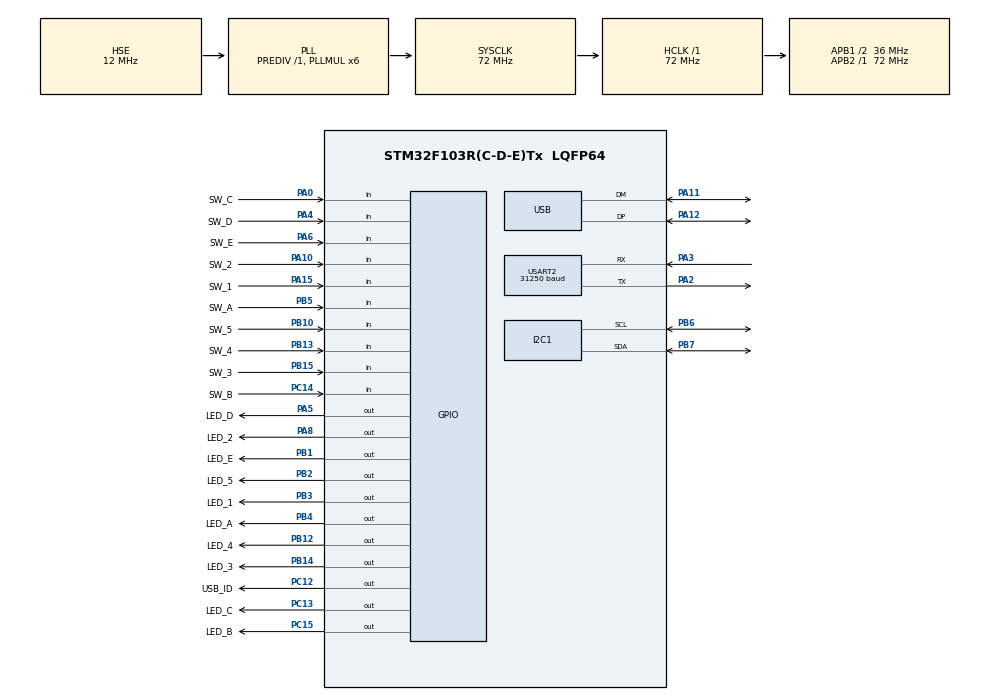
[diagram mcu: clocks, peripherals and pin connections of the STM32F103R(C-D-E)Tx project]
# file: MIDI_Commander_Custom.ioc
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Dma.I2C1_TX.1.Direction=DMA_MEMORY_TO_PERIPH
Dma.I2C1_TX.1.Instance=DMA1_Channel6
Dma.I2C1_TX.1.MemDataAlignment=DMA_MDATAALIGN_BYTE
Dma.I2C1_TX.1.MemInc=DMA_MINC_ENABLE
Dma.I2C1_TX.1.Mode=DMA_NORMAL
Dma.I2C1_TX.1.PeriphDataAlignment=DMA_PDATAALIGN_BYTE
Dma.I2C1_TX.1.PeriphInc=DMA_PINC_DISABLE
Dma.I2C1_TX.1.Priority=DMA_PRIORITY_LOW
Dma.Request0=USART2_TX
Dma.Request1=I2C1_TX
Dma.USART2_TX.0.Direction=DMA_MEMORY_TO_PERIPH
Dma.USART2_TX.0.Instance=DMA1_Channel7
Dma.USART2_TX.0.MemDataAlignment=DMA_MDATAALIGN_BYTE
Dma.USART2_TX.0.MemInc=DMA_MINC_ENABLE
Dma.USART2_TX.0.Mode=DMA_NORMAL
Dma.USART2_TX.0.PeriphDataAlignment=DMA_PDATAALIGN_BYTE
Dma.USART2_TX.0.PeriphInc=DMA_PINC_DISABLE
Dma.USART2_TX.0.Priority=DMA_PRIORITY_LOW
I2C1.I2C_Mode=I2C_Fast
Mcu.Family=STM32F1
Mcu.Name=STM32F103R(C-D-E)Tx
Mcu.Package=LQFP64
NVIC.DMA1_Channel6_IRQn=true\:1\:0\:true\:false\:true\:false\:true
NVIC.DMA1_Channel7_IRQn=true\:0\:0\:false\:false\:true\:false\:true
NVIC.I2C1_EV_IRQn=true\:0\:0\:false\:false\:true\:true\:true
NVIC.PriorityGroup=NVIC_PRIORITYGROUP_4
NVIC.USART2_IRQn=true\:0\:0\:false\:false\:true\:true\:true
NVIC.USB_HP_CAN1_TX_IRQn=true\:6\:0\:true\:false\:true\:true\:true
NVIC.USB_LP_CAN1_RX0_IRQn=true\:5\:0\:true\:false\:true\:false\:true
PA0-WKUP.GPIO_Label=SW_C
PA0-WKUP.GPIO_PuPd=GPIO_PULLUP
PA0-WKUP.Signal=GPIO_Input
PA10.GPIO_Label=SW_2
PA10.GPIO_PuPd=GPIO_PULLUP
PA10.Signal=GPIO_Input
PA11.Mode=Device
PA11.Signal=USB_DM
PA12.Mode=Device
PA12.Signal=USB_DP
PA13.Mode=Serial_Wire
PA13.Signal=SYS_JTMS-SWDIO
PA14.Mode=Serial_Wire
PA14.Signal=SYS_JTCK-SWCLK
PA15.GPIO_Label=SW_1
PA15.GPIO_PuPd=GPIO_PULLUP
PA15.Signal=GPIO_Input
PA2.Mode=Asynchronous
PA2.Signal=USART2_TX
PA3.Mode=Asynchronous
PA3.Signal=USART2_RX
PA4.GPIO_Label=SW_D
PA4.GPIO_PuPd=GPIO_PULLUP
PA4.Signal=GPIO_Input
PA5.GPIO_Label=LED_D
PA5.Signal=GPIO_Output
PA6.GPIO_Label=SW_E
PA6.GPIO_PuPd=GPIO_PULLUP
PA6.Signal=GPIO_Input
PA8.GPIO_Label=LED_2
PA8.Signal=GPIO_Output
PB1.GPIO_Label=LED_E
PB1.Signal=GPIO_Output
PB10.GPIO_Label=SW_5
PB10.GPIO_PuPd=GPIO_PULLUP
PB10.Signal=GPIO_Input
PB12.GPIO_Label=LED_4
PB12.Signal=GPIO_Output
PB13.GPIO_Label=SW_4
PB13.GPIO_PuPd=GPIO_PULLUP
PB13.Signal=GPIO_Input
PB14.GPIO_Label=LED_3
PB14.Signal=GPIO_Output
PB15.GPIO_Label=SW_3
PB15.GPIO_PuPd=GPIO_PULLUP
PB15.Signal=GPIO_Input
PB2.GPIO_Label=LED_5
PB2.Signal=GPIO_Output
PB3.GPIO_Label=LED_1
PB3.Signal=GPIO_Output
PB4.GPIO_Label=LED_A
PB4.Signal=GPIO_Output
PB5.GPIO_Label=SW_A
PB5.GPIO_PuPd=GPIO_PULLUP
PB5.Signal=GPIO_Input
PB6.GPIO_Pu=GPIO_PULLUP
PB6.Mode=I2C
PB6.Signal=I2C1_SCL
PB7.GPIO_Pu=GPIO_PULLUP
PB7.Mode=I2C
PB7.Signal=I2C1_SDA
PC12.GPIO_Label=USB_ID
PC12.Signal=GPIO_Output
PC13-TAMPER-RTC.GPIO_Label=LED_C
PC13-TAMPER-RTC.Signal=GPIO_Output
PC14-OSC32_IN.GPIO_Label=SW_B
PC14-OSC32_IN.GPIO_PuPd=GPIO_PULLUP
PC14-OSC32_IN.Signal=GPIO_Input
PC15-OSC32_OUT.GPIO_Label=LED_B
PC15-OSC32_OUT.Signal=GPIO_Output
PD0-OSC_IN.Mode=HSE-External-Oscillator
PD0-OSC_IN.Signal=RCC_OSC_IN
PD1-OSC_OUT.Mode=HSE-External-Oscillator
PD1-OSC_OUT.Signal=RCC_OSC_OUT
ProjectManager.HeapSize=0x800
ProjectManager.StackSize=0x400
ProjectManager.TargetToolchain=STM32CubeIDE
RCC.AHBFreq_Value=72000000
RCC.APB1CLKDivider=RCC_HCLK_DIV2
RCC.APB1Freq_Value=36000000
RCC.APB1TimFreq_Value=72000000
RCC.APB2Freq_Value=72000000
RCC.APB2TimFreq_Value=72000000
RCC.HCLKFreq_Value=72000000
RCC.HSE_VALUE=12000000
RCC.PLLMUL=RCC_PLL_MUL6
RCC.PLLSourceVirtual=RCC_PLLSOURCE_HSE
RCC.SYSCLKFreq_VALUE=72000000
RCC.SYSCLKSource=RCC_SYSCLKSOURCE_PLLCLK
RCC.USBFreq_Value=48000000
RCC.USBPrescaler=RCC_USBCLKSOURCE_PLL_DIV1_5
USART2.BaudRate=31250
USART2.VirtualMode=VM_ASYNC
USB_DEVICE.CLASS_NAME_FS=AUDIO
USB_DEVICE.VirtualMode=Audio
USB_DEVICE.VirtualModeFS=Audio_FS
VP_USB_DEVICE_VS_USB_DEVICE_AUDIO_FS.Mode=AUDIO_FS
board=custom

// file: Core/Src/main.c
/* USER CODE BEGIN Header */
/**
  ******************************************************************************
  * @file           : main.c
  * @brief          : Main program body
  ******************************************************************************
  * @attention
  *
  * <h2><center>&copy; Copyright (c) 2021 STMicroelectronics.
  * All rights reserved.</center></h2>
  *
  * This software component is licensed by ST under BSD 3-Clause license,
  * the "License"; You may not use this file except in compliance with the
  * License. You may obtain a copy of the License at:
  *                        opensource.org/licenses/BSD-3-Clause
  *
  ******************************************************************************
  */
/* USER CODE END Header */
#include "main.h"
#include "usb_device.h"

/* USER CODE BEGIN Includes */
#include "ssd1306.h"
#include "ssd1306_tests.h"
#include <stdbool.h>
#include "usbd_midi_if.h"
#include "midi_defines.h"
#include "midi_cmds.h"
#include "switch_router.h"
#include "display.h"

/* USER CODE END Includes */

I2C_HandleTypeDef hi2c1;
DMA_HandleTypeDef hdma_i2c1_tx;

UART_HandleTypeDef huart2;
DMA_HandleTypeDef hdma_usart2_tx;

/* USER CODE BEGIN PV */
uint8_t f_sys_config_complete = 0;

/* USER CODE END PV */

void SystemClock_Config(void);
static void MX_GPIO_Init(void);
static void MX_DMA_Init(void);
static void MX_USART2_UART_Init(void);
static void MX_I2C1_Init(void);

int main(void)
{

  /* MCU Configuration--------------------------------------------------------*/

  /* Reset of all peripherals, Initializes the Flash interface and the Systick. */
   HAL_Init();

  /* Configure the system clock */
  SystemClock_Config();

  /* Initialize all configured peripherals */
  MX_GPIO_Init();
  MX_DMA_Init();
  MX_USART2_UART_Init();
  MX_I2C1_Init();
  MX_USB_DEVICE_Init();
  /* USER CODE BEGIN 2 */

  // Reset the USB interface in case it's still plugged in.
  HAL_GPIO_WritePin(USB_ID_GPIO_Port, USB_ID_Pin, GPIO_PIN_RESET);

  display_init();

  // Check we've got a 256kB device, in case Melo switch to a smaller device at some point
  uint16_t flash_size = (*(uint16_t*)FLASHSIZE_BASE);
  uint16_t min_size = 256;
  if(flash_size < min_size) {
	  char msg[25];
	  sprintf(msg, "Mem %3dkb < %3dkb", flash_size, min_size);
	  Error(msg);
  }

  display_setConfigName();

  sw_led_init();

  HAL_Delay(1000);
  HAL_GPIO_WritePin(USB_ID_GPIO_Port, USB_ID_Pin, GPIO_PIN_SET);

  HAL_Delay(200);
  f_sys_config_complete = 1; // Don't scan switch changes until everything is init'd
  display_setBankName(0);

  /* USER CODE END 2 */

  /* Infinite loop */
  /* USER CODE BEGIN WHILE */
  while (1)
  {
	  handle_switches();

    /* USER CODE END WHILE */

  }
}

void SystemClock_Config(void)
{
  RCC_OscInitTypeDef RCC_OscInitStruct = {0};
  RCC_ClkInitTypeDef RCC_ClkInitStruct = {0};
  RCC_PeriphCLKInitTypeDef PeriphClkInit = {0};

  /** Initializes the RCC Oscillators according to the specified parameters
  * in the RCC_OscInitTypeDef structure.
  */
  RCC_OscInitStruct.OscillatorType = RCC_OSCILLATORTYPE_HSE;
  RCC_OscInitStruct.HSEState = RCC_HSE_ON;
  RCC_OscInitStruct.HSEPredivValue = RCC_HSE_PREDIV_DIV1;
  RCC_OscInitStruct.HSIState = RCC_HSI_ON;
  RCC_OscInitStruct.PLL.PLLState = RCC_PLL_ON;
  RCC_OscInitStruct.PLL.PLLSource = RCC_PLLSOURCE_HSE;
  RCC_OscInitStruct.PLL.PLLMUL = RCC_PLL_MUL6;
  if (HAL_RCC_OscConfig(&RCC_OscInitStruct) != HAL_OK)
  {
    Error_Handler();
  }
  /** Initializes the CPU, AHB and APB buses clocks
  */
  RCC_ClkInitStruct.ClockType = RCC_CLOCKTYPE_HCLK|RCC_CLOCKTYPE_SYSCLK
                              |RCC_CLOCKTYPE_PCLK1|RCC_CLOCKTYPE_PCLK2;
  RCC_ClkInitStruct.SYSCLKSource = RCC_SYSCLKSOURCE_PLLCLK;
  RCC_ClkInitStruct.AHBCLKDivider = RCC_SYSCLK_DIV1;
  RCC_ClkInitStruct.APB1CLKDivider = RCC_HCLK_DIV2;
  RCC_ClkInitStruct.APB2CLKDivider = RCC_HCLK_DIV1;

  if (HAL_RCC_ClockConfig(&RCC_ClkInitStruct, FLASH_LATENCY_2) != HAL_OK)
  {
    Error_Handler();
  }
  PeriphClkInit.PeriphClockSelection = RCC_PERIPHCLK_USB;
  PeriphClkInit.UsbClockSelection = RCC_USBCLKSOURCE_PLL_DIV1_5;
  if (HAL_RCCEx_PeriphCLKConfig(&PeriphClkInit) != HAL_OK)
  {
    Error_Handler();
  }
}

static void MX_I2C1_Init(void)
{

  hi2c1.Instance = I2C1;
  hi2c1.Init.ClockSpeed = 400000;
  hi2c1.Init.DutyCycle = I2C_DUTYCYCLE_2;
  hi2c1.Init.OwnAddress1 = 0;
  hi2c1.Init.AddressingMode = I2C_ADDRESSINGMODE_7BIT;
  hi2c1.Init.DualAddressMode = I2C_DUALADDRESS_DISABLE;
  hi2c1.Init.OwnAddress2 = 0;
  hi2c1.Init.GeneralCallMode = I2C_GENERALCALL_DISABLE;
  hi2c1.Init.NoStretchMode = I2C_NOSTRETCH_DISABLE;
  if (HAL_I2C_Init(&hi2c1) != HAL_OK)
  {
    Error_Handler();
  }

}

static void MX_USART2_UART_Init(void)
{

  huart2.Instance = USART2;
  huart2.Init.BaudRate = 31250;
  huart2.Init.WordLength = UART_WORDLENGTH_8B;
  huart2.Init.StopBits = UART_STOPBITS_1;
  huart2.Init.Parity = UART_PARITY_NONE;
  huart2.Init.Mode = UART_MODE_TX_RX;
  huart2.Init.HwFlowCtl = UART_HWCONTROL_NONE;
  huart2.Init.OverSampling = UART_OVERSAMPLING_16;
  if (HAL_UART_Init(&huart2) != HAL_OK)
  {
    Error_Handler();
  }

}

static void MX_DMA_Init(void)
{

  /* DMA controller clock enable */
  __HAL_RCC_DMA1_CLK_ENABLE();

  /* DMA interrupt init */
  /* DMA1_Channel6_IRQn interrupt configuration */
  HAL_NVIC_SetPriority(DMA1_Channel6_IRQn, 1, 0);
  HAL_NVIC_EnableIRQ(DMA1_Channel6_IRQn);
  /* DMA1_Channel7_IRQn interrupt configuration */
  HAL_NVIC_SetPriority(DMA1_Channel7_IRQn, 0, 0);
  HAL_NVIC_EnableIRQ(DMA1_Channel7_IRQn);

}

static void MX_GPIO_Init(void)
{
  GPIO_InitTypeDef GPIO_InitStruct = {0};

  /* GPIO Ports Clock Enable */
  __HAL_RCC_GPIOC_CLK_ENABLE();
  __HAL_RCC_GPIOD_CLK_ENABLE();
  __HAL_RCC_GPIOA_CLK_ENABLE();
  __HAL_RCC_GPIOB_CLK_ENABLE();

  /*Configure GPIO pin Output Level */
  HAL_GPIO_WritePin(GPIOC, LED_C_Pin|LED_B_Pin|USB_ID_Pin, GPIO_PIN_RESET);

  /*Configure GPIO pin Output Level */
  HAL_GPIO_WritePin(GPIOA, LED_D_Pin|LED_2_Pin, GPIO_PIN_RESET);

  /*Configure GPIO pin Output Level */
  HAL_GPIO_WritePin(GPIOB, LED_E_Pin|LED_5_Pin|LED_4_Pin|LED_3_Pin
                          |LED_1_Pin|LED_A_Pin, GPIO_PIN_RESET);

  /*Configure GPIO pins : LED_C_Pin LED_B_Pin USB_ID_Pin */
  GPIO_InitStruct.Pin = LED_C_Pin|LED_B_Pin|USB_ID_Pin;
  GPIO_InitStruct.Mode = GPIO_MODE_OUTPUT_PP;
  GPIO_InitStruct.Pull = GPIO_NOPULL;
  GPIO_InitStruct.Speed = GPIO_SPEED_FREQ_LOW;
  HAL_GPIO_Init(GPIOC, &GPIO_InitStruct);

  /*Configure GPIO pin : SW_B_Pin */
  GPIO_InitStruct.Pin = SW_B_Pin;
  GPIO_InitStruct.Mode = GPIO_MODE_INPUT;
  GPIO_InitStruct.Pull = GPIO_PULLUP;
  HAL_GPIO_Init(SW_B_GPIO_Port, &GPIO_InitStruct);

  /*Configure GPIO pins : SW_C_Pin SW_D_Pin SW_E_Pin SW_2_Pin
                           SW_1_Pin */
  GPIO_InitStruct.Pin = SW_C_Pin|SW_D_Pin|SW_E_Pin|SW_2_Pin
                          |SW_1_Pin;
  GPIO_InitStruct.Mode = GPIO_MODE_INPUT;
  GPIO_InitStruct.Pull = GPIO_PULLUP;
  HAL_GPIO_Init(GPIOA, &GPIO_InitStruct);

  /*Configure GPIO pins : LED_D_Pin LED_2_Pin */
  GPIO_InitStruct.Pin = LED_D_Pin|LED_2_Pin;
  GPIO_InitStruct.Mode = GPIO_MODE_OUTPUT_PP;
  GPIO_InitStruct.Pull = GPIO_NOPULL;
  GPIO_InitStruct.Speed = GPIO_SPEED_FREQ_LOW;
  HAL_GPIO_Init(GPIOA, &GPIO_InitStruct);

  /*Configure GPIO pins : LED_E_Pin LED_5_Pin LED_4_Pin LED_3_Pin
                           LED_1_Pin LED_A_Pin */
  GPIO_InitStruct.Pin = LED_E_Pin|LED_5_Pin|LED_4_Pin|LED_3_Pin
                          |LED_1_Pin|LED_A_Pin;
  GPIO_InitStruct.Mode = GPIO_MODE_OUTPUT_PP;
  GPIO_InitStruct.Pull = GPIO_NOPULL;
  GPIO_InitStruct.Speed = GPIO_SPEED_FREQ_LOW;
  HAL_GPIO_Init(GPIOB, &GPIO_InitStruct);

  /*Configure GPIO pins : SW_5_Pin SW_4_Pin SW_3_Pin SW_A_Pin */
  GPIO_InitStruct.Pin = SW_5_Pin|SW_4_Pin|SW_3_Pin|SW_A_Pin;
  GPIO_InitStruct.Mode = GPIO_MODE_INPUT;
  GPIO_InitStruct.Pull = GPIO_PULLUP;
  HAL_GPIO_Init(GPIOB, &GPIO_InitStruct);

}

/* USER CODE BEGIN 4 */

/*
 * @brief This function can be called to display an error message on the screen,
 * if the display is on, before calling Error_Handler() to stop all operations.
 */
void Error(char *msg) {
	if (ssd1306_GetDisplayOn() == 0) {
		/* Display is on */
		ssd1306_Fill(Black);
		ssd1306_SetCursor(2, 0);
		ssd1306_WriteString("Error:", Font_6x8, White);
		ssd1306_SetCursor(2, 9);
		ssd1306_WriteString(msg, Font_6x8, White);
		ssd1306_UpdateScreen();
	}

	Error_Handler();
}

/* USER CODE END 4 */

void Error_Handler(void)
{
  __disable_irq();
  while (1)
  {
  }
}

/************************ (C) COPYRIGHT STMicroelectronics *****END OF FILE****/
